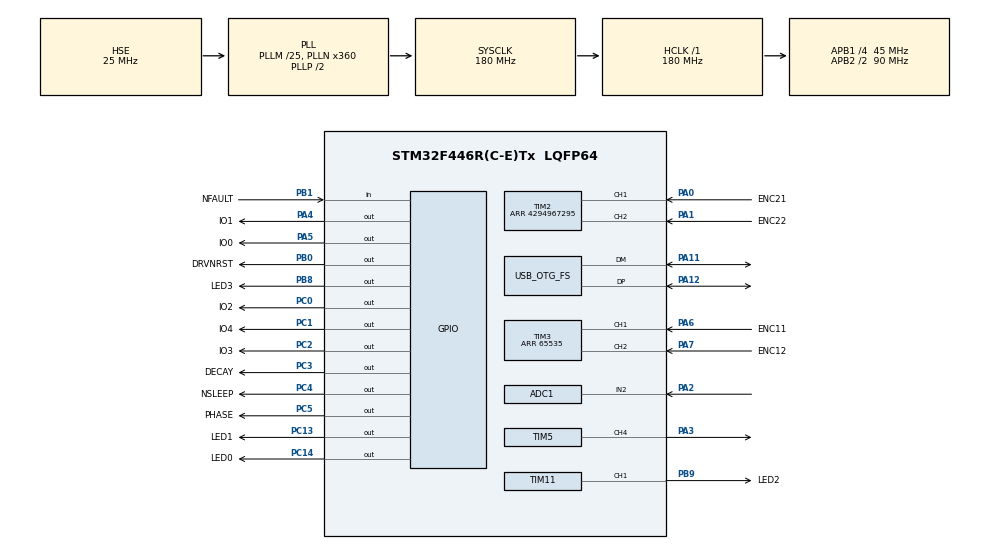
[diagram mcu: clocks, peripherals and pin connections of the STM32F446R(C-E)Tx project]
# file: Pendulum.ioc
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ADC1.Channel-0\#ChannelRegularConversion=ADC_CHANNEL_2
ADC1.NbrOfConversionFlag=1
ADC1.Rank-0\#ChannelRegularConversion=1
ADC1.SamplingTime-0\#ChannelRegularConversion=ADC_SAMPLETIME_3CYCLES
ADC1.master=1
Mcu.Family=STM32F4
Mcu.Name=STM32F446R(C-E)Tx
Mcu.Package=LQFP64
NVIC.OTG_FS_IRQn=true\:0\:0\:false\:false\:true
NVIC.PriorityGroup=NVIC_PRIORITYGROUP_4
NVIC.TIM6_DAC_IRQn=true\:1\:0\:true\:false\:true
PA0-WKUP.GPIO_Label=ENC21
PA0-WKUP.GPIO_PuPd=GPIO_PULLUP
PA0-WKUP.Signal=S_TIM2_CH1_ETR
PA1.GPIO_Label=ENC22
PA1.GPIO_PuPd=GPIO_PULLUP
PA1.Signal=S_TIM2_CH2
PA11.Mode=Device_Only
PA11.Signal=USB_OTG_FS_DM
PA12.Mode=Device_Only
PA12.Signal=USB_OTG_FS_DP
PA2.Signal=ADCx_IN2
PA3.Signal=S_TIM5_CH4
PA4.GPIO_Label=IO1
PA4.Signal=GPIO_Output
PA5.GPIO_Label=IO0
PA5.Signal=GPIO_Output
PA6.GPIO_Label=ENC11
PA6.GPIO_PuPd=GPIO_PULLUP
PA6.Signal=S_TIM3_CH1
PA7.GPIO_Label=ENC12
PA7.GPIO_PuPd=GPIO_PULLUP
PA7.Signal=S_TIM3_CH2
PB0.GPIO_Label=DRVNRST
PB0.Signal=GPIO_Output
PB1.GPIO_Label=NFAULT
PB1.Signal=GPIO_Input
PB8.GPIO_Label=LED3
PB8.Signal=GPIO_Output
PB9.GPIO_Label=LED2
PB9.Signal=S_TIM11_CH1
PC0.GPIO_Label=IO2
PC0.Signal=GPIO_Output
PC1.GPIO_Label=IO4
PC1.Signal=GPIO_Output
PC13.GPIO_Label=LED1
PC13.Signal=GPIO_Output
PC14-OSC32_IN.GPIO_Label=LED0
PC14-OSC32_IN.Signal=GPIO_Output
PC2.GPIO_Label=IO3
PC2.Signal=GPIO_Output
PC3.GPIO_Label=DECAY
PC3.Signal=GPIO_Output
PC4.GPIO_Label=NSLEEP
PC4.Signal=GPIO_Output
PC5.GPIO_Label=PHASE
PC5.Signal=GPIO_Output
PH0-OSC_IN.Mode=HSE-External-Oscillator
PH0-OSC_IN.Signal=RCC_OSC_IN
PH1-OSC_OUT.Mode=HSE-External-Oscillator
PH1-OSC_OUT.Signal=RCC_OSC_OUT
ProjectManager.HeapSize=0x200
ProjectManager.StackSize=0x400
ProjectManager.TargetToolchain=SW4STM32
RCC.AHBFreq_Value=180000000
RCC.APB1CLKDivider=RCC_HCLK_DIV4
RCC.APB1Freq_Value=45000000
RCC.APB1TimFreq_Value=90000000
RCC.APB2CLKDivider=RCC_HCLK_DIV2
RCC.APB2Freq_Value=90000000
RCC.APB2TimFreq_Value=180000000
RCC.CortexFreq_Value=180000000
RCC.HCLKFreq_Value=180000000
RCC.HSE_VALUE=25000000
RCC.PLLM=25
RCC.PLLN=360
RCC.PLLR=4
RCC.PLLSAIM=25
RCC.PLLSAIP=RCC_PLLSAIP_DIV4
RCC.PLLSourceVirtual=RCC_PLLSOURCE_HSE
RCC.SYSCLKFreq_VALUE=180000000
RCC.SYSCLKSource=RCC_SYSCLKSOURCE_PLLCLK
RCC.USBCLockSelection=RCC_CLK48CLKSOURCE_PLLSAIP
RCC.USBFreq_Value=48000000
RCC.VCOOutputFreq_Value=360000000
SH.ADCx_IN2.0=ADC1_IN2,IN2
SH.S_TIM11_CH1.0=TIM11_CH1,PWM Generation1 CH1
SH.S_TIM2_CH1_ETR.0=TIM2_CH1,Encoder_Interface
SH.S_TIM2_CH2.0=TIM2_CH2,Encoder_Interface
SH.S_TIM3_CH1.0=TIM3_CH1,Encoder_Interface
SH.S_TIM3_CH2.0=TIM3_CH2,Encoder_Interface
SH.S_TIM5_CH4.0=TIM5_CH4,PWM Generation4 CH4
TIM11.Period=10000
TIM11.Prescaler=18000
TIM11.Pulse=5000
TIM2.IC1Filter=5
TIM2.IC2Filter=5
TIM2.Period=4294967295
TIM3.EncoderMode=TIM_ENCODERMODE_TI12
TIM3.IC1Filter=5
TIM3.IC1Polarity=TIM_ICPOLARITY_RISING
TIM3.IC2Filter=5
TIM3.IC2Polarity=TIM_ICPOLARITY_RISING
TIM3.Period=65535
TIM5.Channel-PWM\ Generation4\ CH4=TIM_CHANNEL_4
TIM5.OCFastMode_PWM-PWM\ Generation4\ CH4=TIM_OCFAST_DISABLE
TIM5.Period=9999
TIM5.Prescaler=8
TIM5.Pulse-PWM\ Generation4\ CH4=100
TIM6.Period=999
TIM6.Prescaler=89
USB_DEVICE.CLASS_NAME-CDC_FS=CDC
USB_DEVICE.CLASS_NAME_FS=CDC
USB_DEVICE.USBD_HandleTypeDef-CDC_FS=hUsbDeviceFS
USB_DEVICE.VirtualMode-CDC_FS=Cdc
USB_DEVICE.VirtualModeFS=Cdc_FS
USB_OTG_FS.VirtualMode=Device_Only
USB_OTG_FS.vbus_sensing_enable=DISABLE
VP_TIM11_VS_ClockSourceINT.Mode=Enable_Timer
VP_TIM5_VS_ClockSourceINT.Mode=Internal
VP_TIM6_VS_ClockSourceINT.Mode=Enable_Timer
VP_USB_DEVICE_VS_USB_DEVICE_CDC_FS.Mode=CDC_FS
board=Pendulum

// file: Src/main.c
/**
  ******************************************************************************
  * File Name          : main.c
  * Description        : Main program body
  ******************************************************************************
  *
  * Copyright (c) 2017 STMicroelectronics International N.V.
  * All rights reserved.
  *
  * Redistribution and use in source and binary forms, with or without
  * modification, are permitted, provided that the following conditions are met:
  *
  * 1. Redistribution of source code must retain the above copyright notice,
  *    this list of conditions and the following disclaimer.
  * 2. Redistributions in binary form must reproduce the above copyright notice,
  *    this list of conditions and the following disclaimer in the documentation
  *    and/or other materials provided with the distribution.
  * 3. Neither the name of STMicroelectronics nor the names of other
  *    contributors to this software may be used to endorse or promote products
  *    derived from this software without specific written permission.
  * 4. This software, including modifications and/or derivative works of this
  *    software, must execute solely and exclusively on microcontroller or
  *    microprocessor devices manufactured by or for STMicroelectronics.
  * 5. Redistribution and use of this software other than as permitted under
  *    this license is void and will automatically terminate your rights under
  *    this license.
  *
  * THIS SOFTWARE IS PROVIDED BY STMICROELECTRONICS AND CONTRIBUTORS "AS IS"
  * AND ANY EXPRESS, IMPLIED OR STATUTORY WARRANTIES, INCLUDING, BUT NOT
  * LIMITED TO, THE IMPLIED WARRANTIES OF MERCHANTABILITY, FITNESS FOR A
  * PARTICULAR PURPOSE AND NON-INFRINGEMENT OF THIRD PARTY INTELLECTUAL PROPERTY
  * RIGHTS ARE DISCLAIMED TO THE FULLEST EXTENT PERMITTED BY LAW. IN NO EVENT
  * SHALL STMICROELECTRONICS OR CONTRIBUTORS BE LIABLE FOR ANY DIRECT, INDIRECT,
  * INCIDENTAL, SPECIAL, EXEMPLARY, OR CONSEQUENTIAL DAMAGES (INCLUDING, BUT NOT
  * LIMITED TO, PROCUREMENT OF SUBSTITUTE GOODS OR SERVICES; LOSS OF USE, DATA,
  * OR PROFITS; OR BUSINESS INTERRUPTION) HOWEVER CAUSED AND ON ANY THEORY OF
  * LIABILITY, WHETHER IN CONTRACT, STRICT LIABILITY, OR TORT (INCLUDING
  * NEGLIGENCE OR OTHERWISE) ARISING IN ANY WAY OUT OF THE USE OF THIS SOFTWARE,
  * EVEN IF ADVISED OF THE POSSIBILITY OF SUCH DAMAGE.
  *
  ******************************************************************************
  */
#include "main.h"
#include "stm32f4xx_hal.h"
#include "usb_device.h"

/* USER CODE BEGIN Includes */
#include "usbd_cdc_if.h"
#include <stdarg.h>
#include <string.h>
#include <math.h>
/* USER CODE END Includes */

ADC_HandleTypeDef hadc1;

TIM_HandleTypeDef htim2;
TIM_HandleTypeDef htim3;
TIM_HandleTypeDef htim5;
TIM_HandleTypeDef htim6;
TIM_HandleTypeDef htim11;

/* USER CODE BEGIN PV */
/* Private variables ---------------------------------------------------------*/
typedef enum {STABILIZE, STOP, KEEPGOING, SWINGUP} STATE;
STATE state;

typedef enum {LEFT, RIGHT, WAIT, DISTLIMIT} SWINGSTATE;
SWINGSTATE swingstate;

uint32_t timems = 0;
uint8_t motorphase;
float acc;
float accAU;
float accStartPos = 0;
uint32_t accStartTime;
int32_t oldPWM = 0;
float accP;
float accI;
float accD;
float accIntegral = 0;
float angleP;
float angleI;
float angleD;
int32_t angleIntegral;
float posP;
float posD;
float v = 0;
float vnew = 0;
float angleShift = 0;
int16_t angle0 = 0;
int16_t angle1 = 0;
int16_t angleHistory [5] = {};
int32_t angleZeroPoint = 0;
uint32_t count10 = 0;
/* USER CODE END PV */

void SystemClock_Config(void);
void Error_Handler(void);
static void MX_GPIO_Init(void);
static void MX_ADC1_Init(void);
static void MX_TIM2_Init(void);
static void MX_TIM3_Init(void);
static void MX_TIM11_Init(void);
static void MX_TIM5_Init(void);
static void MX_TIM6_Init(void);

void HAL_TIM_MspPostInit(TIM_HandleTypeDef *htim);

/* USER CODE BEGIN PFP */
/* Private function prototypes -----------------------------------------------*/
void print(char* string, ...);
void motorNsleep(int nsleep);
void motorNreset(int nreset);
void motorPhase(int phase);
void motorBrake(int on);
void motorLimit(float limit);
void LED(int n, int on);
void setAcc(float value);
void setAccAU(float value);
void setV(float value);
float getProjectedPos();
void setPWM(int32_t value);
int16_t getAngle();
int32_t getPos();
void adjustPWM();
int32_t getPWM();
void setState(STATE newstate);

/* USER CODE END PFP */

int main(void)
{

  /* MCU Configuration----------------------------------------------------------*/

  /* Reset of all peripherals, Initializes the Flash interface and the Systick. */
  HAL_Init();

  /* Configure the system clock */
  SystemClock_Config();

  /* Initialize all configured peripherals */
  MX_GPIO_Init();
  MX_USB_DEVICE_Init();
  MX_ADC1_Init();
  MX_TIM2_Init();
  MX_TIM3_Init();
  MX_TIM11_Init();
  MX_TIM5_Init();
  MX_TIM6_Init();

  /* USER CODE BEGIN 2 */

  //LED flash heartbeat
  HAL_TIM_PWM_Start(&htim11, TIM_CHANNEL_1);

  //set the LED values
  LED(0,0);
  LED(1,0);
  //LED(2,0);
  LED(3,1);
  HAL_GPIO_WritePin(LED3_GPIO_Port, LED3_Pin, 0);

  //Initialize the motor values
  motorBrake(0);
  motorPhase(1);
  //current limit at 1.0 is 4.95A
  motorLimit(1);
  motorNreset(1);
  motorNsleep(1);
  setState(STOP);

  //start all the timeres
  HAL_TIM_PWM_Start(&htim5, TIM_CHANNEL_4);

  HAL_TIM_Encoder_Start(&htim3,TIM_CHANNEL_ALL);
  HAL_TIM_Encoder_Start(&htim2,TIM_CHANNEL_ALL);

  HAL_TIM_Base_Start_IT(&htim6);

  //send a welcome message
  print("Welcome!\r\n");
  HAL_Delay(10);
  print("Starting...");
  HAL_Delay(150);

  //start the movement
//  setState(SWINGUP);
  setState(STABILIZE);
//  setState(KEEPGOING);

  /* USER CODE END 2 */

  /* Infinite loop */
  /* USER CODE BEGIN WHILE */
//  uint32_t count = 0;
  while (1)
  {
//	  print("Hey\r\n");
//	  print("Pos: %d\r\n", getPos());b

	  //this prints data to the terminal for debugging purposes and to monitor the performance
	  print("Angle: %4d; AccAU: %5.1f; acc: %8.5f vnew: %6.3f; v: %6.3f; Time: %5d; Timestart: %5d; Timediff: "
			  "%4d; StartPos: %7.2f; Pos: %4d, Proj. pos: %7.2f; PWM: %6d; Integral: %8.1f; AngleIntegral: %5d; "
			  "Angle Der: %4d; Angle shift: %4.1f; Stab: %d; AngleZP: %d\r\n", \
			  getAngle(), accAU, acc, vnew, v, timems, accStartTime, timems-accStartTime,\
			  accStartPos, getPos(), getProjectedPos(), getPWM(), accIntegral, angleIntegral,\
			  getAngle()-angleHistory[0], angleShift, state == STABILIZE, angleZeroPoint);
	  HAL_Delay(10);
//	  if(acc ==0)
//		  setAccAU(-10);

  /* USER CODE END WHILE */

  }

}

/** System Clock Configuration
*/
void SystemClock_Config(void)
{

  RCC_OscInitTypeDef RCC_OscInitStruct;
  RCC_ClkInitTypeDef RCC_ClkInitStruct;
  RCC_PeriphCLKInitTypeDef PeriphClkInitStruct;

    /**Configure the main internal regulator output voltage
    */
  __HAL_RCC_PWR_CLK_ENABLE();

  __HAL_PWR_VOLTAGESCALING_CONFIG(PWR_REGULATOR_VOLTAGE_SCALE1);

    /**Initializes the CPU, AHB and APB busses clocks
    */
  RCC_OscInitStruct.OscillatorType = RCC_OSCILLATORTYPE_HSE;
  RCC_OscInitStruct.HSEState = RCC_HSE_ON;
  RCC_OscInitStruct.PLL.PLLState = RCC_PLL_ON;
  RCC_OscInitStruct.PLL.PLLSource = RCC_PLLSOURCE_HSE;
  RCC_OscInitStruct.PLL.PLLM = 25;
  RCC_OscInitStruct.PLL.PLLN = 360;
  RCC_OscInitStruct.PLL.PLLP = RCC_PLLP_DIV2;
  RCC_OscInitStruct.PLL.PLLQ = 2;
  RCC_OscInitStruct.PLL.PLLR = 4;
  if (HAL_RCC_OscConfig(&RCC_OscInitStruct) != HAL_OK)
  {
    Error_Handler();
  }

    /**Activate the Over-Drive mode
    */
  if (HAL_PWREx_EnableOverDrive() != HAL_OK)
  {
    Error_Handler();
  }

    /**Initializes the CPU, AHB and APB busses clocks
    */
  RCC_ClkInitStruct.ClockType = RCC_CLOCKTYPE_HCLK|RCC_CLOCKTYPE_SYSCLK
                              |RCC_CLOCKTYPE_PCLK1|RCC_CLOCKTYPE_PCLK2;
  RCC_ClkInitStruct.SYSCLKSource = RCC_SYSCLKSOURCE_PLLCLK;
  RCC_ClkInitStruct.AHBCLKDivider = RCC_SYSCLK_DIV1;
  RCC_ClkInitStruct.APB1CLKDivider = RCC_HCLK_DIV4;
  RCC_ClkInitStruct.APB2CLKDivider = RCC_HCLK_DIV2;

  if (HAL_RCC_ClockConfig(&RCC_ClkInitStruct, FLASH_LATENCY_5) != HAL_OK)
  {
    Error_Handler();
  }

  PeriphClkInitStruct.PeriphClockSelection = RCC_PERIPHCLK_CLK48;
  PeriphClkInitStruct.PLLSAI.PLLSAIM = 25;
  PeriphClkInitStruct.PLLSAI.PLLSAIN = 192;
  PeriphClkInitStruct.PLLSAI.PLLSAIQ = 2;
  PeriphClkInitStruct.PLLSAI.PLLSAIP = RCC_PLLSAIP_DIV4;
  PeriphClkInitStruct.PLLSAIDivQ = 1;
  PeriphClkInitStruct.Clk48ClockSelection = RCC_CLK48CLKSOURCE_PLLSAIP;
  if (HAL_RCCEx_PeriphCLKConfig(&PeriphClkInitStruct) != HAL_OK)
  {
    Error_Handler();
  }

    /**Configure the Systick interrupt time
    */
  HAL_SYSTICK_Config(HAL_RCC_GetHCLKFreq()/1000);

    /**Configure the Systick
    */
  HAL_SYSTICK_CLKSourceConfig(SYSTICK_CLKSOURCE_HCLK);

  /* SysTick_IRQn interrupt configuration */
  HAL_NVIC_SetPriority(SysTick_IRQn, 0, 0);
}

/* ADC1 init function */
static void MX_ADC1_Init(void)
{

  ADC_ChannelConfTypeDef sConfig;

    /**Configure the global features of the ADC (Clock, Resolution, Data Alignment and number of conversion)
    */
  hadc1.Instance = ADC1;
  hadc1.Init.ClockPrescaler = ADC_CLOCK_SYNC_PCLK_DIV4;
  hadc1.Init.Resolution = ADC_RESOLUTION_12B;
  hadc1.Init.ScanConvMode = DISABLE;
  hadc1.Init.ContinuousConvMode = DISABLE;
  hadc1.Init.DiscontinuousConvMode = DISABLE;
  hadc1.Init.ExternalTrigConvEdge = ADC_EXTERNALTRIGCONVEDGE_NONE;
  hadc1.Init.ExternalTrigConv = ADC_SOFTWARE_START;
  hadc1.Init.DataAlign = ADC_DATAALIGN_RIGHT;
  hadc1.Init.NbrOfConversion = 1;
  hadc1.Init.DMAContinuousRequests = DISABLE;
  hadc1.Init.EOCSelection = ADC_EOC_SINGLE_CONV;
  if (HAL_ADC_Init(&hadc1) != HAL_OK)
  {
    Error_Handler();
  }

    /**Configure for the selected ADC regular channel its corresponding rank in the sequencer and its sample time.
    */
  sConfig.Channel = ADC_CHANNEL_2;
  sConfig.Rank = 1;
  sConfig.SamplingTime = ADC_SAMPLETIME_3CYCLES;
  if (HAL_ADC_ConfigChannel(&hadc1, &sConfig) != HAL_OK)
  {
    Error_Handler();
  }

}

/* TIM2 init function */
static void MX_TIM2_Init(void)
{

  TIM_Encoder_InitTypeDef sConfig;
  TIM_MasterConfigTypeDef sMasterConfig;

  htim2.Instance = TIM2;
  htim2.Init.Prescaler = 0;
  htim2.Init.CounterMode = TIM_COUNTERMODE_UP;
  htim2.Init.Period = 4294967295;
  htim2.Init.ClockDivision = TIM_CLOCKDIVISION_DIV1;
  sConfig.EncoderMode = TIM_ENCODERMODE_TI1;
  sConfig.IC1Polarity = TIM_ICPOLARITY_RISING;
  sConfig.IC1Selection = TIM_ICSELECTION_DIRECTTI;
  sConfig.IC1Prescaler = TIM_ICPSC_DIV1;
  sConfig.IC1Filter = 5;
  sConfig.IC2Polarity = TIM_ICPOLARITY_RISING;
  sConfig.IC2Selection = TIM_ICSELECTION_DIRECTTI;
  sConfig.IC2Prescaler = TIM_ICPSC_DIV1;
  sConfig.IC2Filter = 5;
  if (HAL_TIM_Encoder_Init(&htim2, &sConfig) != HAL_OK)
  {
    Error_Handler();
  }

  sMasterConfig.MasterOutputTrigger = TIM_TRGO_RESET;
  sMasterConfig.MasterSlaveMode = TIM_MASTERSLAVEMODE_DISABLE;
  if (HAL_TIMEx_MasterConfigSynchronization(&htim2, &sMasterConfig) != HAL_OK)
  {
    Error_Handler();
  }

}

/* TIM3 init function */
static void MX_TIM3_Init(void)
{

  TIM_Encoder_InitTypeDef sConfig;
  TIM_MasterConfigTypeDef sMasterConfig;

  htim3.Instance = TIM3;
  htim3.Init.Prescaler = 0;
  htim3.Init.CounterMode = TIM_COUNTERMODE_UP;
  htim3.Init.Period = 65535;
  htim3.Init.ClockDivision = TIM_CLOCKDIVISION_DIV1;
  sConfig.EncoderMode = TIM_ENCODERMODE_TI12;
  sConfig.IC1Polarity = TIM_ICPOLARITY_RISING;
  sConfig.IC1Selection = TIM_ICSELECTION_DIRECTTI;
  sConfig.IC1Prescaler = TIM_ICPSC_DIV1;
  sConfig.IC1Filter = 5;
  sConfig.IC2Polarity = TIM_ICPOLARITY_RISING;
  sConfig.IC2Selection = TIM_ICSELECTION_DIRECTTI;
  sConfig.IC2Prescaler = TIM_ICPSC_DIV1;
  sConfig.IC2Filter = 5;
  if (HAL_TIM_Encoder_Init(&htim3, &sConfig) != HAL_OK)
  {
    Error_Handler();
  }

  sMasterConfig.MasterOutputTrigger = TIM_TRGO_RESET;
  sMasterConfig.MasterSlaveMode = TIM_MASTERSLAVEMODE_DISABLE;
  if (HAL_TIMEx_MasterConfigSynchronization(&htim3, &sMasterConfig) != HAL_OK)
  {
    Error_Handler();
  }

}

/* TIM5 init function */
static void MX_TIM5_Init(void)
{

  TIM_ClockConfigTypeDef sClockSourceConfig;
  TIM_MasterConfigTypeDef sMasterConfig;
  TIM_OC_InitTypeDef sConfigOC;

  htim5.Instance = TIM5;
  htim5.Init.Prescaler = 8;
  htim5.Init.CounterMode = TIM_COUNTERMODE_UP;
  htim5.Init.Period = 9999;
  htim5.Init.ClockDivision = TIM_CLOCKDIVISION_DIV1;
  if (HAL_TIM_Base_Init(&htim5) != HAL_OK)
  {
    Error_Handler();
  }

  sClockSourceConfig.ClockSource = TIM_CLOCKSOURCE_INTERNAL;
  if (HAL_TIM_ConfigClockSource(&htim5, &sClockSourceConfig) != HAL_OK)
  {
    Error_Handler();
  }

  if (HAL_TIM_PWM_Init(&htim5) != HAL_OK)
  {
    Error_Handler();
  }

  sMasterConfig.MasterOutputTrigger = TIM_TRGO_RESET;
  sMasterConfig.MasterSlaveMode = TIM_MASTERSLAVEMODE_DISABLE;
  if (HAL_TIMEx_MasterConfigSynchronization(&htim5, &sMasterConfig) != HAL_OK)
  {
    Error_Handler();
  }

  sConfigOC.OCMode = TIM_OCMODE_PWM1;
  sConfigOC.Pulse = 100;
  sConfigOC.OCPolarity = TIM_OCPOLARITY_HIGH;
  sConfigOC.OCFastMode = TIM_OCFAST_DISABLE;
  if (HAL_TIM_PWM_ConfigChannel(&htim5, &sConfigOC, TIM_CHANNEL_4) != HAL_OK)
  {
    Error_Handler();
  }

  HAL_TIM_MspPostInit(&htim5);

}

/* TIM6 init function */
static void MX_TIM6_Init(void)
{

  TIM_MasterConfigTypeDef sMasterConfig;

  htim6.Instance = TIM6;
  htim6.Init.Prescaler = 89;
  htim6.Init.CounterMode = TIM_COUNTERMODE_UP;
  htim6.Init.Period = 999;
  if (HAL_TIM_Base_Init(&htim6) != HAL_OK)
  {
    Error_Handler();
  }

  sMasterConfig.MasterOutputTrigger = TIM_TRGO_RESET;
  sMasterConfig.MasterSlaveMode = TIM_MASTERSLAVEMODE_DISABLE;
  if (HAL_TIMEx_MasterConfigSynchronization(&htim6, &sMasterConfig) != HAL_OK)
  {
    Error_Handler();
  }

}

/* TIM11 init function */
static void MX_TIM11_Init(void)
{

  TIM_OC_InitTypeDef sConfigOC;

  htim11.Instance = TIM11;
  htim11.Init.Prescaler = 18000;
  htim11.Init.CounterMode = TIM_COUNTERMODE_UP;
  htim11.Init.Period = 10000;
  htim11.Init.ClockDivision = TIM_CLOCKDIVISION_DIV1;
  if (HAL_TIM_Base_Init(&htim11) != HAL_OK)
  {
    Error_Handler();
  }

  if (HAL_TIM_PWM_Init(&htim11) != HAL_OK)
  {
    Error_Handler();
  }

  sConfigOC.OCMode = TIM_OCMODE_PWM1;
  sConfigOC.Pulse = 5000;
  sConfigOC.OCPolarity = TIM_OCPOLARITY_HIGH;
  sConfigOC.OCFastMode = TIM_OCFAST_DISABLE;
  if (HAL_TIM_PWM_ConfigChannel(&htim11, &sConfigOC, TIM_CHANNEL_1) != HAL_OK)
  {
    Error_Handler();
  }

  HAL_TIM_MspPostInit(&htim11);

}

/** Configure pins as
        * Analog
        * Input
        * Output
        * EVENT_OUT
        * EXTI
        * Free pins are configured automatically as Analog (this feature is enabled through
        * the Code Generation settings)
*/
static void MX_GPIO_Init(void)
{

  GPIO_InitTypeDef GPIO_InitStruct;

  /* GPIO Ports Clock Enable */
  __HAL_RCC_GPIOC_CLK_ENABLE();
  __HAL_RCC_GPIOH_CLK_ENABLE();
  __HAL_RCC_GPIOA_CLK_ENABLE();
  __HAL_RCC_GPIOB_CLK_ENABLE();
  __HAL_RCC_GPIOD_CLK_ENABLE();

  /*Configure GPIO pin Output Level */
  HAL_GPIO_WritePin(GPIOC, LED1_Pin|LED0_Pin|IO2_Pin|IO4_Pin
                          |IO3_Pin|DECAY_Pin|NSLEEP_Pin|PHASE_Pin, GPIO_PIN_RESET);

  /*Configure GPIO pin Output Level */
  HAL_GPIO_WritePin(GPIOA, IO1_Pin|IO0_Pin, GPIO_PIN_RESET);

  /*Configure GPIO pin Output Level */
  HAL_GPIO_WritePin(GPIOB, DRVNRST_Pin|LED3_Pin, GPIO_PIN_RESET);

  /*Configure GPIO pins : LED1_Pin LED0_Pin IO2_Pin IO4_Pin
                           IO3_Pin DECAY_Pin NSLEEP_Pin PHASE_Pin */
  GPIO_InitStruct.Pin = LED1_Pin|LED0_Pin|IO2_Pin|IO4_Pin
                          |IO3_Pin|DECAY_Pin|NSLEEP_Pin|PHASE_Pin;
  GPIO_InitStruct.Mode = GPIO_MODE_OUTPUT_PP;
  GPIO_InitStruct.Pull = GPIO_NOPULL;
  GPIO_InitStruct.Speed = GPIO_SPEED_FREQ_LOW;
  HAL_GPIO_Init(GPIOC, &GPIO_InitStruct);

  /*Configure GPIO pins : PC15 PC6 PC7 PC8
                           PC9 PC10 PC11 PC12 */
  GPIO_InitStruct.Pin = GPIO_PIN_15|GPIO_PIN_6|GPIO_PIN_7|GPIO_PIN_8
                          |GPIO_PIN_9|GPIO_PIN_10|GPIO_PIN_11|GPIO_PIN_12;
  GPIO_InitStruct.Mode = GPIO_MODE_ANALOG;
  GPIO_InitStruct.Pull = GPIO_NOPULL;
  HAL_GPIO_Init(GPIOC, &GPIO_InitStruct);

  /*Configure GPIO pins : IO1_Pin IO0_Pin */
  GPIO_InitStruct.Pin = IO1_Pin|IO0_Pin;
  GPIO_InitStruct.Mode = GPIO_MODE_OUTPUT_PP;
  GPIO_InitStruct.Pull = GPIO_NOPULL;
  GPIO_InitStruct.Speed = GPIO_SPEED_FREQ_LOW;
  HAL_GPIO_Init(GPIOA, &GPIO_InitStruct);

  /*Configure GPIO pins : DRVNRST_Pin LED3_Pin */
  GPIO_InitStruct.Pin = DRVNRST_Pin|LED3_Pin;
  GPIO_InitStruct.Mode = GPIO_MODE_OUTPUT_PP;
  GPIO_InitStruct.Pull = GPIO_NOPULL;
  GPIO_InitStruct.Speed = GPIO_SPEED_FREQ_LOW;
  HAL_GPIO_Init(GPIOB, &GPIO_InitStruct);

  /*Configure GPIO pin : NFAULT_Pin */
  GPIO_InitStruct.Pin = NFAULT_Pin;
  GPIO_InitStruct.Mode = GPIO_MODE_INPUT;
  GPIO_InitStruct.Pull = GPIO_NOPULL;
  HAL_GPIO_Init(NFAULT_GPIO_Port, &GPIO_InitStruct);

  /*Configure GPIO pins : PB2 PB10 PB12 PB13
                           PB14 PB15 PB3 PB4
                           PB5 PB6 PB7 */
  GPIO_InitStruct.Pin = GPIO_PIN_2|GPIO_PIN_10|GPIO_PIN_12|GPIO_PIN_13
                          |GPIO_PIN_14|GPIO_PIN_15|GPIO_PIN_3|GPIO_PIN_4
                          |GPIO_PIN_5|GPIO_PIN_6|GPIO_PIN_7;
  GPIO_InitStruct.Mode = GPIO_MODE_ANALOG;
  GPIO_InitStruct.Pull = GPIO_NOPULL;
  HAL_GPIO_Init(GPIOB, &GPIO_InitStruct);

  /*Configure GPIO pins : PA8 PA9 PA10 PA13
                           PA14 PA15 */
  GPIO_InitStruct.Pin = GPIO_PIN_8|GPIO_PIN_9|GPIO_PIN_10|GPIO_PIN_13
                          |GPIO_PIN_14|GPIO_PIN_15;
  GPIO_InitStruct.Mode = GPIO_MODE_ANALOG;
  GPIO_InitStruct.Pull = GPIO_NOPULL;
  HAL_GPIO_Init(GPIOA, &GPIO_InitStruct);

  /*Configure GPIO pin : PD2 */
  GPIO_InitStruct.Pin = GPIO_PIN_2;
  GPIO_InitStruct.Mode = GPIO_MODE_ANALOG;
  GPIO_InitStruct.Pull = GPIO_NOPULL;
  HAL_GPIO_Init(GPIOD, &GPIO_InitStruct);

}

/* USER CODE BEGIN 4 */

//return the position where the cart should be if it moves with the initial velocity and acceleration given
float getProjectedPos(){
	return acc*(timems-accStartTime)*(timems-accStartTime)/2.0f + v*(timems-accStartTime) + accStartPos;
//	return acc;
}

//this function gets called every 1 ms, it adjusts the motion of the cart according to the acceleration
//it also changes the accleration based on the position of the stick
void timeStep(){
	timems++;
	count10++;
	vnew += acc;
	//every 10 ms adjust the acceleration
	if(count10==10){
		count10=0;
		//all the PID values
		angleP = 1.1f;
		angleI = 0.0045;//0.0065;
		angleD = 6;//3.25f;
		posP = 5.0f/150.0f;
		posD = 2.0f/0.1f;
		if(state == STABILIZE){
			//here we change the acceleration using the PID algorithm
			//we also take into account the angle shift, which changes the desired equilibrium angle
			//this is so that the cart will start moving toward the center, if it is to the right,
			//the equilibrium angle is to the left, so the cart will drift left etc, vnew is basically
			//the corresponding D parameter to the drifting to the center
			angleShift = posP*getPos();
			setAccAU(angleP*(getAngle()-angleZeroPoint+angleShift) + angleD*(getAngle()-angleHistory[0]) + angleI*angleIntegral + vnew*posD);
		}
		//this keeps track of the angle positions to later calculate the derivative
		for(uint8_t i = 0; i < 5-1; ++i){
			angleHistory[i] = angleHistory[i+1];
		}
		angleHistory[4] = getAngle();
	}
	if(state == STABILIZE || state == KEEPGOING){
		angleIntegral += getAngle()-angleZeroPoint+angleShift;
		adjustPWM();
	}
	//this part deals with the swing up manuever
	if(state == SWINGUP){
		int16_t angleChange = getAngle() - angleHistory[0];
		int32_t maxAcc = 30;
		int32_t maxPos = 150;
		//if we go too far on the rails, quickly accelerate the speed to zero
		if(getProjectedPos() > maxPos && vnew >= 0.0f){
			swingstate = DISTLIMIT;
			if(fabsf(vnew) > 0.05f){
				setAccAU(-2.5f*maxAcc);
			}
			else{
				setV(0);
			}
			if(vnew == 0.0f){
				swingstate = RIGHT;
			}
		}
		if(getProjectedPos() < -maxPos && vnew <= 0.0f){
			swingstate = DISTLIMIT;
			if(fabsf(vnew) > 0.05f){
				setAccAU(2.5f*maxAcc);
			}
			else{
				setV(0);
			}
			if(vnew == 0.0f ){
				swingstate = RIGHT;
			}
		}
		//this accelerate to the right and will start accelerating to the left
		//if the angle is such that the acceleration would work to increase the velocity
		if(swingstate == RIGHT){
			if(angleChange > 0 && abs(getAngle()) > 600){
				swingstate = LEFT;
			}
			if(angleChange < 0 && abs(getAngle()) < 600){
				swingstate = LEFT;
			}
			if(getProjectedPos() < maxPos){
				setAccAU(maxAcc);
			}
		}
		if(swingstate == LEFT){
			if(angleChange < 0 && abs(getAngle()) > 600){
				swingstate = RIGHT;
			}
			if(angleChange > 0 && abs(getAngle()) < 600){
				swingstate = RIGHT;
			}
			if(getProjectedPos() > -maxPos){
				setAccAU(-maxAcc);
			}
		}
		adjustPWM();
		//once we get to the top we go to the stabilizing mode
		if(abs(getAngle()) > 1190){
			state = STABILIZE;
			angleZeroPoint = getAngle > 0 ? 1200 : -1200;
		}
	}
	//stop the cart if it has moved too far to avoid damaging something
	if(abs(getPos()) > 400){
		setState(STOP);
	}
	if(state == STOP){
		setAccAU(0);
		setPWM(0);
		motorBrake(0);
	}
}

//a function to set the state
void setState(STATE newstate){
	state = newstate;
	if(newstate == STABILIZE || newstate == KEEPGOING){
		motorBrake(0);
	}
	if(newstate == STOP){
		motorBrake(1);
		setAcc(0);
		setPWM(0);
		setV(0);
	}
	if(newstate == SWINGUP){
		swingstate = RIGHT;

	}
}

//this function uses PWM to make sure that the cart position is the projected position based on the velocity and acceleration
void adjustPWM(){
	accP = 1500;
	accI = 1;
	accD = 0;

	float error = getProjectedPos() - getPos();
	if((accI*accIntegral <= 10000 && error > 0) || (accI*accIntegral >= -10000 && error < 0))
		accIntegral += error;
	int32_t changePWM = accP*error + accI*accIntegral - vnew * accD;
	setPWM(changePWM);
}

//sets the acceleration of the cart
void setAcc(float value){
	accAU = value/(gms*(2*PI/2400.0f));
	acc = value;
	accStartPos = getProjectedPos();
	accStartTime = timems;
	v = vnew;
}

//this sets the acceleration in the units where in the right side of the differential equation in the
//encoder angular units the acceleration is in the same units as the angle f''=k*(f+a)
void setAccAU(float value){
	accAU = value;
	acc = value*gms*(2*PI/2400.0f);
	accStartPos = getProjectedPos();
	accStartTime = timems;
	v = vnew;
}

void setV(float value){
	setAcc(0);
	v = value;
	vnew = value;
}

int32_t getPos(){
	return TIM2->CNT;
}

int16_t getAngle(){
	return TIM3->CNT;
}

int32_t PWMChangeLimit = 300;
//PWM value from -10k to 10k, which goes from 0% to 100% in either direction
void setPWM(int32_t value){
	if(value > 10000)
		value = 10000;
	if(value < -10000)
		value = -10000;
	uint32_t phasenew = 0;
	if(value >= 0)
		phasenew = 1;
	else
		value = -value;
	if(phasenew != motorphase)
		motorPhase(phasenew);
	if(value-oldPWM > PWMChangeLimit)
		value = oldPWM + PWMChangeLimit;
	else if(value-oldPWM < -PWMChangeLimit)
		value = oldPWM - PWMChangeLimit;
	TIM5->CCR4 = value;
	oldPWM = value;
}

int32_t getPWM(){
	return (motorphase ? 1 : -1)*(TIM5->CCR4);
}

void motorNsleep(int nsleep){
	HAL_GPIO_WritePin(NSLEEP_GPIO_Port, NSLEEP_Pin, nsleep);
}

void motorNreset(int nreset){
	HAL_GPIO_WritePin(DRVNRST_GPIO_Port, DRVNRST_Pin, nreset);
}

void motorPhase(int phase){
	HAL_GPIO_WritePin(PHASE_GPIO_Port, PHASE_Pin, phase);
	motorphase = phase;
}

void motorBrake(int on){
	HAL_GPIO_WritePin(DECAY_GPIO_Port, DECAY_Pin, on);
}

void motorLimit(float limit){
	uint8_t value = limit*((1<<5)-1);
	HAL_GPIO_WritePin(IO0_GPIO_Port, IO0_Pin, (value>>0)&1);
	HAL_GPIO_WritePin(IO1_GPIO_Port, IO1_Pin, (value>>1)&1);
	HAL_GPIO_WritePin(IO2_GPIO_Port, IO2_Pin, (value>>2)&1);
	HAL_GPIO_WritePin(IO3_GPIO_Port, IO3_Pin, (value>>3)&1);
	HAL_GPIO_WritePin(IO4_GPIO_Port, IO4_Pin, (value>>4)&1);
}

//for turning the leds on/off
void LED(int n, int on){
	if(n==0){
		HAL_GPIO_WritePin(LED0_GPIO_Port, LED0_Pin, !on);
	}
	else if(n==1){
		HAL_GPIO_WritePin(LED1_GPIO_Port, LED1_Pin, !on);
	}
	else if(n==2){
//		HAL_GPIO_WritePin(LED2_GPIO_Port, LED2_Pin, !on);
	}
	else if(n==3){
		HAL_GPIO_WritePin(LED3_GPIO_Port, LED3_Pin, !on);
	}
}

//this prints out the string to the terminal over USB, works with printf syntax
void print(char* string, ...){
	size_t maxsize = 512;
	size_t size;
	uint8_t buffer [maxsize];
	va_list args;
	va_start(args, string);
	size = vsnprintf(buffer, maxsize, string, args);
	va_end(args);

	if(size >= maxsize){
		uint8_t err [] = "\r\nPRINT BUFFER OVERFLOW\r\n";
		int count = 0;
		while(count < 10){
			volatile uint8_t res = CDC_Transmit_FS(err,strlen(err));
			if(res == USBD_BUSY){
				for(volatile int n = 0; n < 18000*2; n++){
					volatile int a = TIM2->CNT;
				}
			}
			else{
				break;
			}
			count++;
		}
	}
	int count = 0;
	while(count < 10){
		volatile uint8_t res = CDC_Transmit_FS(buffer,size);
		if(res == USBD_BUSY){
			for(volatile int n = 0; n < 18000*2; n++){
				volatile int a = TIM2->CNT;
			}
		}
		else{
			break;
		}
		count++;
	}
}
/* USER CODE END 4 */

void Error_Handler(void)
{
  while(1)
  {
  }
}

/************************ (C) COPYRIGHT STMicroelectronics *****END OF FILE****/
